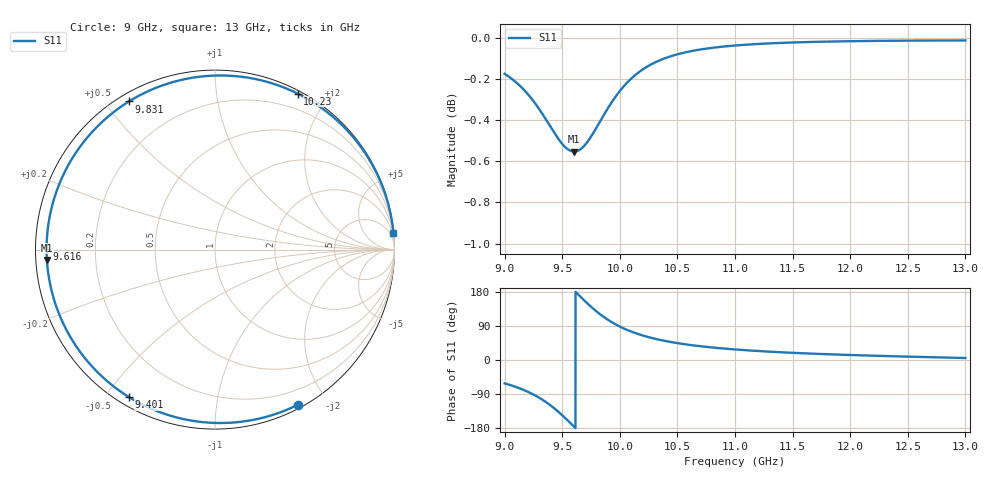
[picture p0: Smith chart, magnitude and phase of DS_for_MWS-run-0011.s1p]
! TOUCHSTONE file generated by CST DESIGN STUDIO
! Date and time: Tue Feb  4 16:40:05 2025
! Project name: C:\Work\MatlabApps\UnitCellOptimizationMatlab\CST\unitcell.cst
! Tree item: Tasks\Sweep1\SPara1\S-Parameters
! Header version: 2024
! Port assignment regex: !\s*Touchstone port\s*([0-9]+)\s*=\s*(CST MWS port|CST DES external port|CST DES block port)\s*(.+)\s* \(\"(.*)\"\)(\s*mode\s*([0-9]+))?.*
! Touchstone port assignment:
! Touchstone port 1 = CST DES external port 1 ("")
# GHz S MA R 50
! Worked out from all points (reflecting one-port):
!   4001 points, 9 GHz to 13 GHz, reference 50 ohm
!   lowest |S11| = -0.6 dB at 9.604 GHz (marker M1), VSWR 31.42, Z = 1.59 - j1.55 ohm
!   phase of S11 starts at -62 deg and turns -293 deg over the sweep
!   S11 on the Smith chart (normalised r, x): 9 GHz: 0.04, -1.67; 9.401 GHz: 0.03, -0.57; 9.616 GHz: 0.03, +0.00; 9.831 GHz: 0.03, +0.58; 10.23 GHz: 0.03, +1.66; 13 GHz: 0, +22
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9  0.98 -61.7
9.053  0.9777 -66.5
9.125  0.974 -74.1
9.187  0.97 -81.8
9.248  0.9654 -90.7
9.33  0.9581 -105.1
9.401  0.9512 -120.3
9.451  0.9464 -132.5
9.5  0.9424 -145.7
9.554  0.9393 -161.3
9.604  0.9383 -176.4
9.616  0.9384 179.9
9.661  0.9397 166.2
9.708  0.9426 152.3
9.77  0.9481 135.2
9.831  0.9545 120.1
9.909  0.9626 103.7
10  0.9706 88.2
10.11  0.9781 73.8
10.229  0.9837 62.1
10.354  0.9877 52.8
10.5  0.9908 44.5
10.72  0.9937 35.6
11  0.9957 27.8
11.5  0.9974 18.9
12  0.9981 13.2
12.5  0.9984 8.8
13  0.9985 5.3
